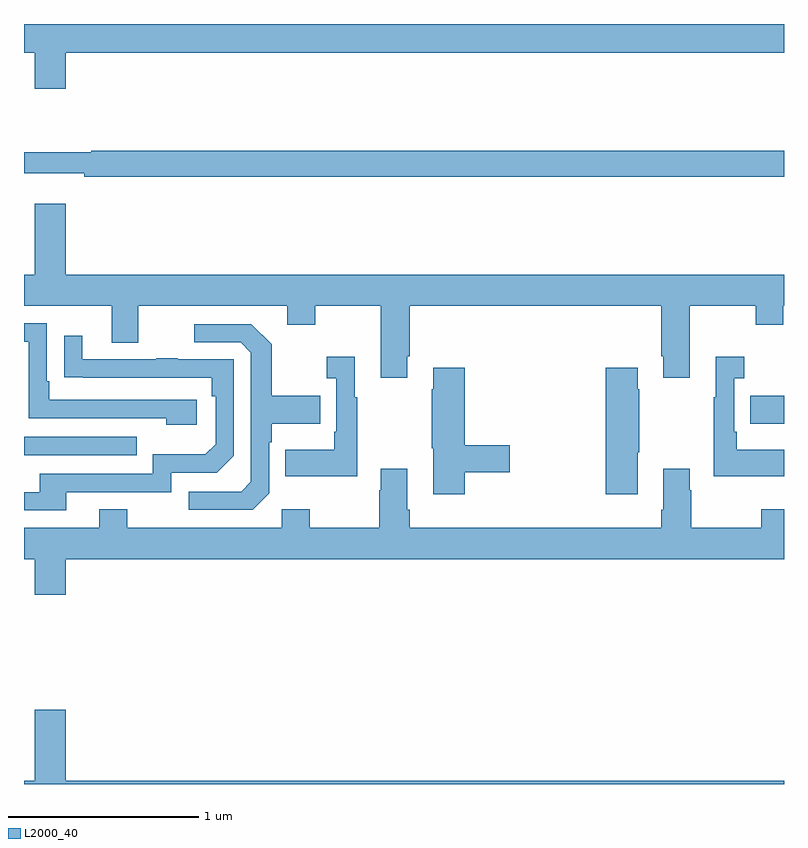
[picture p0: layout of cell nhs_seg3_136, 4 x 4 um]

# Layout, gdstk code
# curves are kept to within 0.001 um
import gdstk
lib = gdstk.Library(unit=1e-6, precision=1e-09)
def R(c, l, rs):  # rectangles x0, y0, x1, y1
    for r in rs: c.add(gdstk.rectangle(r[:2], r[2:], *l))
def P(c, l, *ps):  # polygons
    for p in ps: c.add(gdstk.Polygon(p, *l))
L2000_40 = (2000, 40)

nhs_seg3_136 = lib.new_cell('nhs_seg3_136')
R(nhs_seg3_136, L2000_40, [(117,700.131,117.593,700.227), (120.823,700.295,121,700.443)])
P(nhs_seg3_136, L2000_40, [(117.22,702.248),(121,702.248),(121,702.4),(117,702.4),(117,702.248),(117.056,702.248),(117.056,702.06),(117.22,702.06)],
  [(121,701.732),(117.353,701.732),(117.353,701.725),(117,701.725),(117,701.615),(117.316,701.615),(117.316,701.596),(121,701.596)],
  [(119.017,700.651),(119.03,700.651),(119.03,700.916),(120.353,700.916),(120.353,700.651),(120.365,700.651),(120.365,700.539),(120.505,700.539),(120.505,700.916),(120.85,700.916),(120.85,700.817),(120.997,700.817),(120.997,700.916),(121,700.916),(121,701.08),(117.22,701.08),(117.22,701.455),(117.056,701.455),(117.056,701.08),(117,701.08),(117,700.916),(117.461,700.916),(117.461,700.722),(117.601,700.722),(117.601,700.916),(118.385,700.916),(118.385,700.817),(118.533,700.817),(118.533,700.916),(118.877,700.916),(118.877,700.539),(119.017,700.539)],
  [(117.91,700.422),(117.133,700.422),(117.133,700.519),(117.12,700.519),(117.12,700.824),(117,700.824),(117,700.728),(117.024,700.728),(117.024,700.326),(117.749,700.326),(117.749,700.292),(117.91,700.292)],
  [(118.29,699.93),(118.29,700.199),(118.303,700.199),(118.303,700.295),(118.559,700.295),(118.559,700.443),(118.303,700.443),(118.303,700.715),(118.197,700.821),(117.897,700.821),(117.897,700.725),(118.14,700.725),(118.194,700.671),(118.194,699.99),(118.143,699.939),(117.867,699.939),(117.867,699.843),(118.203,699.843)],
  [(117.223,699.936),(117.774,699.936),(117.774,700.038),(118.014,700.038),(118.104,700.128),(118.104,700.635),(117.809,700.635),(117.809,700.64),(117.697,700.64),(117.697,700.635),(117.307,700.635),(117.307,700.759),(117.211,700.759),(117.211,700.54),(117.988,700.539),(117.988,700.442),(118.008,700.442),(118.008,700.188),(117.955,700.135),(117.678,700.135),(117.678,700.032),(117.083,700.032),(117.083,699.936),(117,699.936),(117,699.84),(117.223,699.84)],
  [(121,700.159),(120.751,700.159),(120.751,700.255),(120.738,700.255),(120.738,700.535),(120.79,700.535),(120.79,700.648),(120.641,700.648),(120.641,700.435),(120.63,700.435),(120.63,700.019),(121,700.019)],
  [(118.753,700.435),(118.741,700.435),(118.741,700.648),(118.593,700.648),(118.593,700.535),(118.644,700.535),(118.644,700.255),(118.632,700.255),(118.632,700.159),(118.375,700.159),(118.375,700.019),(118.753,700.019)],
  [(119.321,700.042),(119.557,700.042),(119.557,700.184),(119.321,700.184),(119.321,700.591),(119.153,700.591),(119.153,700.478),(119.146,700.478),(119.146,700.167),(119.153,700.167),(119.153,699.924),(119.321,699.924)],
  [(120.229,700.147),(120.237,700.147),(120.237,700.478),(120.229,700.478),(120.229,700.591),(120.062,700.591),(120.062,699.924),(120.229,699.924)],
  [(117.22,699.584),(121,699.584),(121,699.847),(120.88,699.847),(120.88,699.748),(120.513,699.748),(120.513,699.947),(120.505,699.947),(120.505,700.06),(120.365,700.06),(120.365,699.844),(120.353,699.844),(120.353,699.748),(119.03,699.748),(119.03,699.844),(119.017,699.844),(119.017,700.06),(118.877,700.06),(118.877,699.947),(118.87,699.947),(118.87,699.748),(118.503,699.748),(118.503,699.847),(118.356,699.847),(118.356,699.748),(117.543,699.748),(117.543,699.847),(117.395,699.847),(117.395,699.748),(117,699.748),(117,699.584),(117.056,699.584),(117.056,699.396),(117.22,699.396)],
  [(121,698.416),(117.22,698.416),(117.22,698.791),(117.056,698.791),(117.056,698.416),(117,698.416),(117,698.4),(121,698.4)])

lib.write_gds('nhs_seg3_136.gds')
